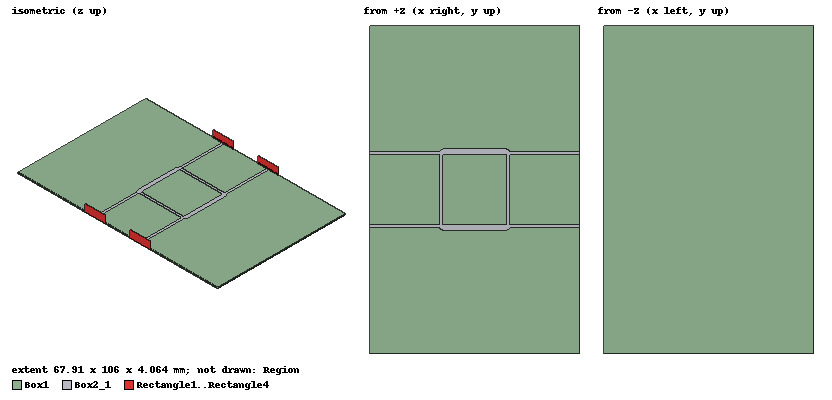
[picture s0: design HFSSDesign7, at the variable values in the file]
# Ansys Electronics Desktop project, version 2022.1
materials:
  vacuum: permittivity=1
  pec: conductivity=1e+30
  Rogers RO4003 (tm): permittivity=3.55 dielectric_loss_tangent=0.0027

design HFSSDesign7 (HFSS, DrivenModal, model units mm)
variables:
  H_sub = 20mil
  T = 18um
  L1 = 887.952756mil
  L2 = 810mil
  W1 = 43.870866mil
  W2 = 74.13937mil
  h_port = 8*H_sub
  w_port = 10*W1
  m = (sqrt(2))*W3-5.5*W1-0.5*L1
  a_sub = 2*L1+2*W1+L2
  b_sub = 11*W1+L1+2*m
  f0 = 2GHz
  lambda = (c0/f0) meter
  W3 = lambda/4
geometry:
  Box1 [Rogers RO4003 (tm)] = box(corner=(0mm, 0mm, 0mm), size=(a_sub, b_sub, H_sub))
  Box2 = box(corner=(a_sub-L1, 4.5*W1+m, H_sub), size=(L1, W1, T))
  Box3 = box(corner=(a_sub-L1-W1, 4.5*W1+m, H_sub), size=(W1, L1+2*W1, T))
  Box4 = box(corner=(a_sub-L1-W1-L2/2, 5.5*W1+m-W2, H_sub), size=(L2/2, W2, T))
  Polyline1 = polyline((a_sub-L1, 4.5*W1+m, H_sub) (a_sub-L1-W1, 5.5*W1+m-W2, H_sub))
  Polyline2 = polyline((a_sub-L1, 4.5*W1+m, H_sub) (a_sub-L1-W1, 4.5*W1+m, H_sub))
  Polyline3 = polyline((a_sub-L1-W1, 5.5*W1+m-W2, H_sub) (a_sub-L1-W1, 4.5*W1+m, H_sub))
  Polyline1.unite(Polyline2, Polyline3)
  Polyline1.cover_lines()
  Polyline1.move(0mm, 8.8817842e-16mm, 0.018mm)
  Polyline1.thicken(T)
  Box5 = box(corner=(0mm, 4.5*W1+m, H_sub), size=(L1, W1, T))
  Box6 = box(corner=(a_sub-L1-W1-L2, 5.5*W1+m-W2, H_sub), size=(L2/2, W2, T))
  Box7 = box(corner=(a_sub-L1-W1-L2-W1, 4.5*W1+m, H_sub), size=(W1, L1+2*W1, T))
  Polyline4 = polyline((L1, 4.5*W1+m, H_sub) (a_sub-L1-W1-L2, 5.5*W1+m-W2, H_sub))
  Polyline5 = polyline((L1, 4.5*W1+m, H_sub) (L1+W1, 4.5*W1+m, H_sub))
  Polyline6 = polyline((a_sub-L1-W1-L2, 5.5*W1+m-W2, H_sub) (L1+W1, 4.5*W1+m, H_sub))
  Polyline4.unite(Polyline5, Polyline6)
  Polyline4.cover_lines()
  Polyline4.thicken(T)
  Rectangle1 = rectangle(corner=(0mm, m, 0mm), y_size=w_port, z_size=h_port)
  Rectangle2 = rectangle(corner=(0mm, m+L1+W1, 0mm), y_size=w_port, z_size=h_port)
  Rectangle3 = rectangle(corner=(a_sub, m, 0mm), y_size=w_port, z_size=h_port)
  Rectangle4 = rectangle(corner=(a_sub, m+L1+W1, 0mm), y_size=w_port, z_size=h_port)
  Region [vacuum] = region(+X=0 percentage offset, -X=0 percentage offset, +Y=0 percentage offset, -Y=0 percentage offset, +Z=6mm absolute position, -Z=0 percentage offset)
  Box2.unite(Polyline1, Box4, Box6, Polyline4, Box5)
  Box2_1 [pec] = Box2.duplicate_mirror(point=(a_sub-L1-W1-L2/2, 5.5*W1+m+L1/2, H_sub), normal=(0mm, 1mm, 0mm))
  Box2_1.unite(Box3, Box2, Box7)
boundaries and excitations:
  PerfE1: Perfect E Faces=Box1.face(-z)
  Rad1: Radiation Faces=Region.face(+y, +z, -y)
  1: Wave Port Objects=Rectangle3 NumModes=1 Modes{Mode1{IntLine{(67.91064, 41.16216, 0) -> (67.91064, 41.16216, 0.508)} CharImp=Zpi RenormImp=50ohm}}
  2: Wave Port Objects=Rectangle1 NumModes=1 Modes{Mode1{IntLine{(0, 41.16216, 0) -> (0, 41.16216, 0.508)} CharImp=Zpi RenormImp=50ohm}}
  3: Wave Port Objects=Rectangle2 NumModes=1 Modes{Mode1{IntLine{(0, 64.83048, 0) -> (0, 64.83048, 0.508)} CharImp=Zpi RenormImp=50ohm}}
  4: Wave Port Objects=Rectangle4 NumModes=1 Modes{Mode1{IntLine{(67.91064, 64.83048, 0) -> (67.91064, 64.83048, 0.508)} CharImp=Zpi RenormImp=50ohm}}
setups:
  Setup1: HfssDriven Frequency=2GHz MaxDeltaS=0.005 MaximumPasses=90 MinimumPasses=5 MinimumConvergedPasses=2 PercentRefinement=10 BasisOrder=1 PortAccuracy=2 DrivenSolverType="Direct Solver"
    sweep Sweep: 1GHz to 3GHz, 401 points; Type=Fast SaveFields
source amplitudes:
  1:1: 1W 0deg
  2:1, 3:1, 4:1: 0W 0deg
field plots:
  Mag_E1: E Field over Box1.face(-z) on Setup1 : LastAdaptive at Freq=2GHz Phase=0deg
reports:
  S Parameter Plot 1: dB(S(1,1)), dB(S(2,2)), dB(S(3,3)), dB(S(4,4)) vs Freq on Setup1 : Sweep; markers m1 at 2GHz, m2 at 2GHz, m3 at 2GHz, m4 at 2GHz
  S Parameter Plot 2: dB(S(2,1)), dB(S(3,1)) vs Freq on Setup1 : Sweep; markers m1 at 2GHz, m2 at 2GHz
  S Parameter Plot 3: arg(S(2,1)), arg(S(3,1)) vs Freq on Setup1 : Sweep; markers m1 at 2GHz, m2 at 2GHz
  S Parameter Plot 4: dB(S(4,1)) vs Freq on Setup1 : Sweep; markers m1 at 2GHz
